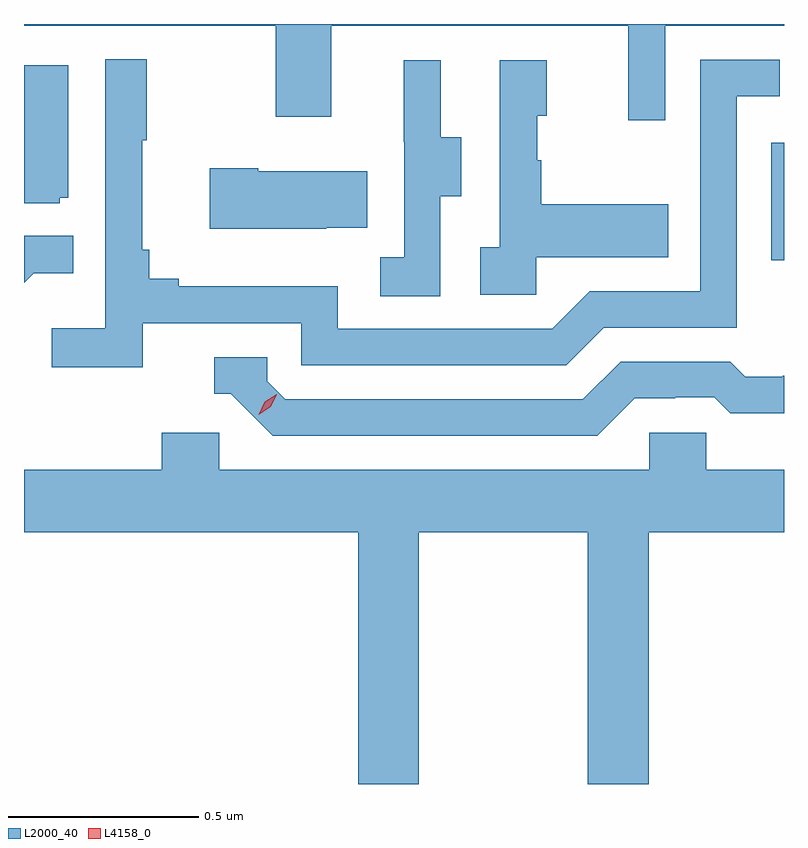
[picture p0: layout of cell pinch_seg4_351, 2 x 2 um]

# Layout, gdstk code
import gdstk
lib = gdstk.Library(unit=1e-6, precision=1e-09)
def R(c, l, rs):  # rectangles x0, y0, x1, y1
    for r in rs: c.add(gdstk.rectangle(r[:2], r[2:], *l))
def P(c, l, *ps):  # polygons
    for p in ps: c.add(gdstk.Polygon(p, *l))
L2000_40 = (2000, 40)
L4158_0 = (4158, 0)

pinch_seg4_351 = lib.new_cell('pinch_seg4_351')
R(pinch_seg4_351, L2000_40, [(1011.174,800.199,1011.208,800.508)])
P(pinch_seg4_351, L2000_40, [(1010.895,800.816),(1011.208,800.816),(1011.208,800.821),(1009.208,800.821),(1009.208,800.816),(1009.87,800.816),(1009.87,800.577),(1010.017,800.577),(1010.017,800.816),(1010.798,800.816),(1010.798,800.568),(1010.895,800.568)],
  [(1009.52,800.034),(1009.938,800.034),(1009.938,799.923),(1010.635,799.923),(1010.734,800.022),(1011.084,800.022),(1011.084,800.631),(1011.197,800.631),(1011.197,800.727),(1010.988,800.727),(1010.988,800.118),(1010.697,800.118),(1010.598,800.019),(1010.034,800.019),(1010.034,800.131),(1009.615,800.131),(1009.615,800.15),(1009.538,800.15),(1009.538,800.227),(1009.519,800.227),(1009.519,800.515),(1009.531,800.515),(1009.531,800.728),(1009.422,800.728),(1009.422,800.02),(1009.281,800.02),(1009.281,799.918),(1009.52,799.918)],
  [(1010.304,800.368),(1010.359,800.368),(1010.359,800.523),(1010.305,800.523),(1010.305,800.725),(1010.207,800.725),(1010.207,800.511),(1010.208,800.511),(1010.208,800.207),(1010.145,800.207),(1010.145,800.104),(1010.304,800.104)],
  [(1010.556,800.207),(1010.903,800.207),(1010.903,800.347),(1010.569,800.347),(1010.569,800.462),(1010.559,800.462),(1010.559,800.58),(1010.584,800.58),(1010.584,800.725),(1010.46,800.725),(1010.46,800.234),(1010.409,800.234),(1010.409,800.109),(1010.556,800.109)],
  [(1009.302,800.364),(1009.324,800.364),(1009.324,800.713),(1009.208,800.713),(1009.208,800.349),(1009.302,800.349)],
  [(1010.003,800.285),(1010.111,800.285),(1010.111,800.434),(1009.825,800.434),(1009.825,800.442),(1009.697,800.442),(1009.697,800.282),(1010.003,800.282)],
  [(1009.233,800.165),(1009.337,800.165),(1009.337,800.264),(1009.208,800.264),(1009.208,800.14)],
  [(1010.815,799.836),(1010.922,799.836),(1010.922,799.839),(1011.025,799.839),(1011.067,799.797),(1011.208,799.797),(1011.208,799.896),(1011.205,799.896),(1011.205,799.893),(1011.106,799.893),(1011.067,799.932),(1010.778,799.932),(1010.679,799.833),(1009.896,799.833),(1009.848,799.881),(1009.848,799.944),(1009.709,799.944),(1009.709,799.848),(1009.752,799.848),(1009.863,799.737),(1010.716,799.737)],
  [(1010.247,799.484),(1010.692,799.484),(1010.692,798.821),(1010.852,798.821),(1010.852,799.484),(1011.208,799.484),(1011.208,799.648),(1011.003,799.648),(1011.003,799.746),(1010.853,799.746),(1010.853,799.648),(1009.722,799.648),(1009.722,799.746),(1009.571,799.746),(1009.571,799.648),(1009.208,799.648),(1009.208,799.484),(1010.087,799.484),(1010.087,798.821),(1010.247,798.821)])
P(pinch_seg4_351, L4158_0, [(1009.826,799.793),(1009.826,799.793),(1009.842,799.827),(1009.873,799.847),(1009.873,799.847),(1009.873,799.847),(1009.857,799.814),(1009.826,799.793)])

lib.write_gds('pinch_seg4_351.gds')
